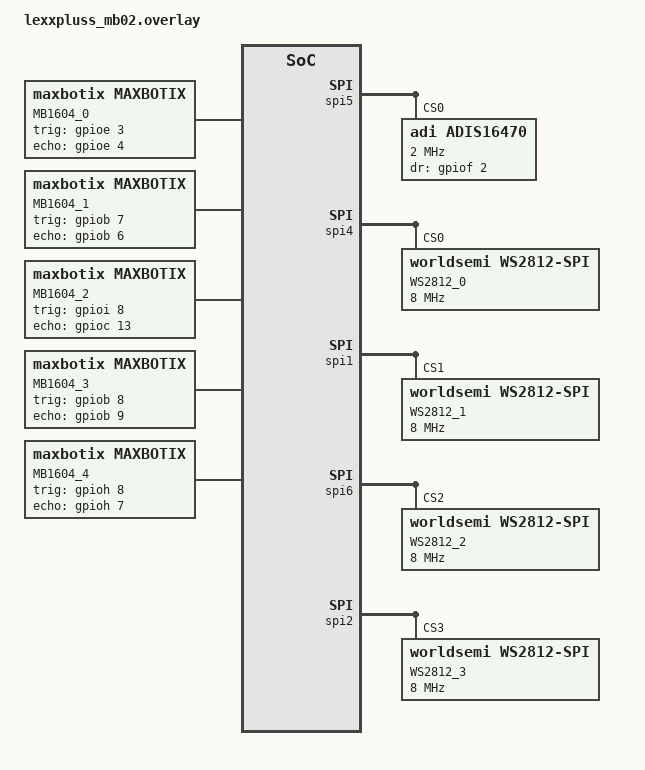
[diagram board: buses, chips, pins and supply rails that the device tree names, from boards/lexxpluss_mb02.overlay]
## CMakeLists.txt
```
# SPDX-License-Identifier: BSD-2-Clause
cmake_minimum_required(VERSION 3.20.0)
list(APPEND BOARD_ROOT ${CMAKE_CURRENT_LIST_DIR}/../spike_minimal)
option(SPIKE_REAL_SLOT "Use the real 256 KiB slots (no measurement overlay) for the units g and h" OFF)
# From unit b on, the in-house driver module is part of the build. The module
# list must be known before find_package(Zephyr), so the unit index is derived here.
if(DEFINED FW_UNIT AND FW_UNIT MATCHES "^[a-h]$")
    string(FIND "abcdefgh" "${FW_UNIT}" early_unit_pos)
    if(early_unit_pos GREATER 0)
        list(APPEND ZEPHYR_EXTRA_MODULES ${CMAKE_CURRENT_LIST_DIR}/modules/lexxpluss_drivers)
        list(APPEND EXTRA_CONF_FILE ${CMAKE_CURRENT_LIST_DIR}/prj_sensors.conf)
    endif()
    # Unit g adds the micro-ROS module (same early-index technique).
    if(early_unit_pos GREATER 5)
        list(APPEND ZEPHYR_EXTRA_MODULES ${CMAKE_CURRENT_LIST_DIR}/../micro_ros_zephyr_module/modules/libmicroros)
        # MEASUREMENT ONLY: enlarged code partition (see the overlay); applied after the board overlay.
        # This is the measurement overlay that SPIKE_REAL_SLOT=ON removes.
        if(NOT SPIKE_REAL_SLOT)
            list(APPEND EXTRA_DTC_OVERLAY_FILE ${CMAKE_CURRENT_LIST_DIR}/boards/u9g_measure_flash_region.overlay)
        endif()
    endif()
    # Unit h only. A CMake cache variable named CONFIG_* is merged by Zephyr after all
    # EXTRA_CONF_FILE files, so it overrides the shared nano conf (CONFIG_MICROROS_NODES="1");
    # an EXTRA_CONF_FILE fragment appended here would be merged before the command-line ones.
    # Unit g is unchanged. The Kconfig symbol is a string, hence the quoted value.
    if(FW_UNIT STREQUAL "h")
        set(CONFIG_MICROROS_NODES "\"2\"" CACHE STRING "Unit h creates two rcl nodes (one per session)" FORCE)
    endif()
endif()
find_package(Zephyr REQUIRED HINTS $ENV{ZEPHYR_BASE})
project(spike_fw)

# Under LTO the compiler emits the 64-bit atomic libcalls during link-time codegen, after the
# linker has chosen the libmicroros.a members, so librcutils-atomic_64bits.c.obj is not pulled
# in. Force its symbols (all four defined in rcutils atomic_64bits.c) to be undefined at link.
if(CONFIG_LTO)
    zephyr_ld_options(
        -Wl,-u,__atomic_load_8
        -Wl,-u,__atomic_store_8
        -Wl,-u,__atomic_exchange_8
        -Wl,-u,__atomic_fetch_add_8
    )
endif()

# FW_UNIT selects the cumulative unit (a..h) up to which sources are compiled.
if(NOT DEFINED FW_UNIT OR NOT FW_UNIT MATCHES "^[a-h]$")
    message(FATAL_ERROR "FW_UNIT must be set to a letter a..h (e.g. -DFW_UNIT=a)")
endif()

# Maps the unit letter to an index (a=1 .. g=7).
function(fw_unit_index letter out_var)
    string(FIND "abcdefgh" "${letter}" pos)
    math(EXPR idx "${pos} + 1")
    set(${out_var} ${idx} PARENT_SCOPE)
endfunction()

# Adds sources when FW_UNIT is at or after the given unit letter.
function(fw_unit_sources letter)
    fw_unit_index("${FW_UNIT}" current)
    fw_unit_index("${letter}" required)
    if(NOT current LESS required)
        target_sources(app PRIVATE ${ARGN})
    endif()
endfunction()

# Defines FW_HAS_<NAME>=1 for the named controllers when FW_UNIT is at or after
# the given unit letter, so that main.cpp can skip controllers not built yet.
function(fw_unit_defines letter)
    fw_unit_index("${FW_UNIT}" current)
    fw_unit_index("${letter}" required)
    if(NOT current LESS required)
        foreach(name ${ARGN})
            target_compile_definitions(app PRIVATE FW_HAS_${name}=1)
        endforeach()
    endif()
endfunction()

# Cumulative source table. Later units extend this table (b: in-house driver
# module path; g: micro-ROS).
fw_unit_sources(a src/main.cpp)
fw_unit_sources(c src/can_controller.cpp src/interlock_controller.cpp
                  src/u9_stubs.cpp)
fw_unit_sources(d src/actuator_controller.cpp src/adc_reader.cpp
                  src/pgv_controller.cpp src/towing_unit_controller.cpp
                  src/misc_controller.cpp)
fw_unit_sources(e src/firmware_updater.cpp src/sdlog_controller.cpp
                  src/log_controller.cpp src/runaway_detector.cpp
                  src/tof_controller.cpp)
fw_unit_sources(f src/imu_controller.cpp src/uss_controller.cpp
                  src/led_controller.cpp)
# The size-spike sample is compiled for unit g only; unit h replaces it by the real session.
if(FW_UNIT STREQUAL "g")
    target_sources(app PRIVATE src/microros_types.c)
endif()
fw_unit_sources(g src/microros_transport_uart.c)
fw_unit_sources(h src/microros_session.c src/microros_publishers.cpp src/microros_subscribers.cpp src/microros_services.cpp
                  src/microros_board_store.cpp)

# Unit h reads the uxrSession of an rcl context for the per-session ping: the private rmw header
# (rmw_microros_internal/types.h) needs this include directory, for this source only.
if(FW_UNIT STREQUAL "h")
    set_source_files_properties(src/microros_session.c PROPERTIES INCLUDE_DIRECTORIES
        ${CMAKE_CURRENT_LIST_DIR}/../micro_ros_zephyr_module/modules/libmicroros/micro_ros_src/src/rmw-microxrcedds/rmw_microxrcedds_c/src)
endif()

fw_unit_defines(c CAN INTERLOCK)
fw_unit_defines(d ACTUATOR ADC PGV TOWING MISC)
fw_unit_defines(e UPDATER SDLOG LOG RUNAWAY TOF)
fw_unit_defines(f IMU USS LED)
fw_unit_defines(g MICROROS)
fw_unit_defines(h MICROROS_REAL)

if(ENABLE_INTERLOCK)
    add_definitions(-DENABLE_INTERLOCK)
endif()

if(ENABLE_TUG)
    add_definitions(-DENABLE_TUG)
endif()

if(VERSION)
    add_definitions(-DVERSION=${VERSION})
endif()
```

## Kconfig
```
# STM32 HAL modules used directly by actuator_controller.cpp (HAL_TIM_Encoder_*,
# HAL_TIMEx_MasterConfigSynchronization, HAL_GPIO_Init). They are hidden symbols,
# so they can only be enabled by a select.
config LEXXHARD_STM32_HAL_APP
	bool
	default y
	select USE_STM32_HAL_TIM
	select USE_STM32_HAL_TIM_EX
	select USE_STM32_HAL_GPIO

config LEXXHARD_MICROROS_NO_EXECUTOR
	bool "Replace the rclc executor by a plain rcl wait-set loop"
	default n
	help
	  Size measurement only: the micro-ROS sample uses a hand-written rcl wait-set loop
	  instead of the rclc executor, so that rclc executor.c and the rcl_action code that
	  it references are not linked.

config LEXXHARD_MICROROS_DIRECT_TYPESUPPORT
	bool "Ask the micro-XRCE-DDS type support directly in the micro-ROS sample"
	default n
	help
	  Size measurement only: the micro-ROS sample passes the rosidl_typesupport_microxrcedds_c
	  handles to rcl instead of the rosidl_typesupport_c dispatch handles, so that the
	  rosidl_typesupport_c dispatch tables and the introspection type support that they
	  reference are not linked.

source "Kconfig.zephyr"
```

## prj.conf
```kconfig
# Copyright (c) 2022, LexxPluss Inc.
# All rights reserved.
#
# Redistribution and use in source and binary forms, with or without
# modification, are permitted provided that the following conditions are met:
#
# 1. Redistributions of source code must retain the above copyright notice,
#    this list of conditions and the following disclaimer.
# 2. Redistributions in binary form must reproduce the above copyright notice,
#    this list of conditions and the following disclaimer in the documentation
#    and/or other materials provided with the distribution.
#
# THIS SOFTWARE IS PROVIDED BY THE COPYRIGHT HOLDERS AND CONTRIBUTORS "AS IS" AND
# ANY EXPRESS OR IMPLIED WARRANTIES, INCLUDING, BUT NOT LIMITED TO, THE IMPLIED
# WARRANTIES OF MERCHANTABILITY AND FITNESS FOR A PARTICULAR PURPOSE ARE
# DISCLAIMED. IN NO EVENT SHALL THE COPYRIGHT OWNER OR CONTRIBUTORS BE LIABLE FOR
# ANY DIRECT, INDIRECT, INCIDENTAL, SPECIAL, EXEMPLARY, OR CONSEQUENTIAL DAMAGES
# (INCLUDING, BUT NOT LIMITED TO, PROCUREMENT OF SUBSTITUTE GOODS OR SERVICES;
# LOSS OF USE, DATA, OR PROFITS; OR BUSINESS INTERRUPTION) HOWEVER CAUSED AND
# ON ANY THEORY OF LIABILITY, WHETHER IN CONTRACT, STRICT LIABILITY, OR TORT
# (INCLUDING NEGLIGENCE OR OTHERWISE) ARISING IN ANY WAY OUT OF THE USE OF THIS
# SOFTWARE, EVEN IF ADVISED OF THE POSSIBILITY OF SUCH DAMAGE.

CONFIG_SHELL=y
CONFIG_FPU=y
CONFIG_NEWLIB_LIBC=y
CONFIG_NEWLIB_LIBC_FLOAT_PRINTF=y
CONFIG_CPP=y
CONFIG_STD_CPP2A=y
CONFIG_GLIBCXX_LIBCPP=y
CONFIG_CPP_RTTI=y
CONFIG_RING_BUFFER=y
CONFIG_PRINTK=y
CONFIG_DISK_ACCESS=y
CONFIG_DISK_DRIVERS=y
CONFIG_DISK_DRIVER_SDMMC=y
CONFIG_FILE_SYSTEM=y
CONFIG_FAT_FILESYSTEM_ELM=y
CONFIG_FS_FATFS_LFN=y
CONFIG_HEAP_MEM_POOL_SIZE=32768
CONFIG_FILE_SYSTEM_SHELL=y
CONFIG_BOOTLOADER_MCUBOOT=y
CONFIG_MCUBOOT_SIGNATURE_KEY_FILE="bootloader/mcuboot/root-rsa-2048.pem"
CONFIG_MCUBOOT_GENERATE_CONFIRMED_IMAGE=y
CONFIG_FLASH=y
CONFIG_FLASH_MAP=y
CONFIG_REBOOT=y

# CONFIG_CAN moved to the board defconfig (as in the 2.6 board defconfig)
```

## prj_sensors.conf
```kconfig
# U9b: in-house sensor drivers (lexxpluss_drivers module); the 2.6 defconfig enables MAXBOTIX and ADIS16470.
# Appended to EXTRA_CONF_FILE by CMakeLists.txt for FW_UNIT b or later only.
CONFIG_SPI=y
CONFIG_SENSOR=y
CONFIG_MAXBOTIX=y
CONFIG_ADIS16470=y
```

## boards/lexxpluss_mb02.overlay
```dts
#include <zephyr/dt-bindings/led/led.h>

/*
 * Sensor nodes of the lexxpluss_mb02 board (5 MaxBotix MB1604 and the ADIS16470 on spi5)
 * for the in-house drivers of spike_fw/modules/lexxpluss_drivers. The label properties are
 * kept because the firmware looks the devices up by name with device_get_binding();
 * dr-gpios replaces the hard-coded GPIOF pin 2 of the 2.6 driver.
 */
/ {
	uss0: mb1604-0 {
		compatible = "maxbotix,maxbotix";
		label = "MB1604_0";
		trig-gpios = <&gpioe 3 GPIO_ACTIVE_HIGH>;
		echo-gpios = <&gpioe 4 GPIO_ACTIVE_HIGH>;
		status = "okay";
	};

	uss1: mb1604-1 {
		compatible = "maxbotix,maxbotix";
		label = "MB1604_1";
		trig-gpios = <&gpiob 7 GPIO_ACTIVE_HIGH>;
		echo-gpios = <&gpiob 6 GPIO_ACTIVE_HIGH>;
		status = "okay";
	};

	uss2: mb1604-2 {
		compatible = "maxbotix,maxbotix";
		label = "MB1604_2";
		trig-gpios = <&gpioi 8 GPIO_ACTIVE_HIGH>;
		echo-gpios = <&gpioc 13 GPIO_ACTIVE_HIGH>;
		status = "okay";
	};

	uss3: mb1604-3 {
		compatible = "maxbotix,maxbotix";
		label = "MB1604_3";
		trig-gpios = <&gpiob 8 GPIO_ACTIVE_HIGH>;
		echo-gpios = <&gpiob 9 GPIO_ACTIVE_HIGH>;
		status = "okay";
	};

	uss4: mb1604-4 {
		compatible = "maxbotix,maxbotix";
		label = "MB1604_4";
		trig-gpios = <&gpioh 8 GPIO_ACTIVE_HIGH>;
		echo-gpios = <&gpioh 7 GPIO_ACTIVE_HIGH>;
		status = "okay";
	};
};

&spi5 {
	adis16470@0 {
		compatible = "adi,adis16470";
		reg = <0>;
		spi-max-frequency = <2000000>;
		label = "ADIS16470";
		dr-gpios = <&gpiof 2 GPIO_ACTIVE_HIGH>;
	};
};

/* WS2812 strips (upstream worldsemi,ws2812-spi), values from the 2.6 board dts; GRB wire order. */
&spi4 {
	led_strip0: ws2812@0 {
		compatible = "worldsemi,ws2812-spi";
		label = "WS2812_0";
		reg = <0>;
		spi-max-frequency = <8000000>;
		chain-length = <36>;
		spi-one-frame = <0x7c>;
		spi-zero-frame = <0x60>;
		color-mapping = <LED_COLOR_ID_GREEN LED_COLOR_ID_RED LED_COLOR_ID_BLUE>;
	};
};

&spi1 {
	led_strip1: ws2812@1 {
		compatible = "worldsemi,ws2812-spi";
		label = "WS2812_1";
		reg = <1>;
		spi-max-frequency = <8000000>;
		chain-length = <36>;
		spi-one-frame = <0x7c>;
		spi-zero-frame = <0x60>;
		color-mapping = <LED_COLOR_ID_GREEN LED_COLOR_ID_RED LED_COLOR_ID_BLUE>;
	};
};

&spi6 {
	led_strip2: ws2812@2 {
		compatible = "worldsemi,ws2812-spi";
		label = "WS2812_2";
		reg = <2>;
		spi-max-frequency = <8000000>;
		chain-length = <25>;
		spi-one-frame = <0x7c>;
		spi-zero-frame = <0x60>;
		color-mapping = <LED_COLOR_ID_GREEN LED_COLOR_ID_RED LED_COLOR_ID_BLUE>;
	};
};

&spi2 {
	led_strip3: ws2812@3 {
		compatible = "worldsemi,ws2812-spi";
		label = "WS2812_3";
		reg = <3>;
		spi-max-frequency = <8000000>;
		chain-length = <25>;
		spi-one-frame = <0x7c>;
		spi-zero-frame = <0x60>;
		color-mapping = <LED_COLOR_ID_GREEN LED_COLOR_ID_RED LED_COLOR_ID_BLUE>;
	};
};
```

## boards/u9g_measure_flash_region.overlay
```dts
/*
 * MEASUREMENT ONLY: the code partition is enlarged to 512 KiB so that the image links and its size can be
 * measured. The real slot is 256 KiB and the firmware plus micro-ROS overflowed it by 13316 bytes at the
 * first link. The image signer takes the slot size from slot1_partition, so that one is enlarged too.
 * Both overlap their neighbours (slot1 overlaps scratch): never use for a release image.
 */
&slot0_partition {
	reg = <0x00040000 0x00080000>;
};

&slot1_partition {
	reg = <0x00080000 0x00080000>;
};
```

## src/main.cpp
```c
/*
 * Copyright (c) 2022, LexxPluss Inc.
 * All rights reserved.
 *
 * Redistribution and use in source and binary forms, with or without
 * modification, are permitted provided that the following conditions are met:
 *
 * 1. Redistributions of source code must retain the above copyright notice,
 *    this list of conditions and the following disclaimer.
 * 2. Redistributions in binary form must reproduce the above copyright notice,
 *    this list of conditions and the following disclaimer in the documentation
 *    and/or other materials provided with the distribution.
 *
 * THIS SOFTWARE IS PROVIDED BY THE COPYRIGHT HOLDERS AND CONTRIBUTORS "AS IS" AND
 * ANY EXPRESS OR IMPLIED WARRANTIES, INCLUDING, BUT NOT LIMITED TO, THE IMPLIED
 * WARRANTIES OF MERCHANTABILITY AND FITNESS FOR A PARTICULAR PURPOSE ARE
 * DISCLAIMED. IN NO EVENT SHALL THE COPYRIGHT OWNER OR CONTRIBUTORS BE LIABLE FOR
 * ANY DIRECT, INDIRECT, INCIDENTAL, SPECIAL, EXEMPLARY, OR CONSEQUENTIAL DAMAGES
 * (INCLUDING, BUT NOT LIMITED TO, PROCUREMENT OF SUBSTITUTE GOODS OR SERVICES;
 * LOSS OF USE, DATA, OR PROFITS; OR BUSINESS INTERRUPTION) HOWEVER CAUSED AND
 * ON ANY THEORY OF LIABILITY, WHETHER IN CONTRACT, STRICT LIABILITY, OR TORT
 * (INCLUDING NEGLIGENCE OR OTHERWISE) ARISING IN ANY WAY OUT OF THE USE OF THIS
 * SOFTWARE, EVEN IF ADVISED OF THE POSSIBILITY OF SUCH DAMAGE.
 */

#include <zephyr/kernel.h>
#include <zephyr/drivers/gpio.h>
#if FW_HAS_ACTUATOR
#include "actuator_controller.hpp"
#endif
#if FW_HAS_ADC
#include "adc_reader.hpp"
#endif
#if FW_HAS_CAN
#include "can_controller.hpp"
#endif
#if FW_HAS_UPDATER
#include "firmware_updater.hpp"
#endif
#if FW_HAS_IMU
#include "imu_controller.hpp"
#endif
#if FW_HAS_INTERLOCK
#include "interlock_controller.hpp"
#endif
#if FW_HAS_LED
#include "led_controller.hpp"
#endif
#if FW_HAS_MISC
#include "misc_controller.hpp"
#endif
#if FW_HAS_PGV
#include "pgv_controller.hpp"
#endif
#if FW_HAS_RUNAWAY
#include "runaway_detector.hpp"
#endif
#if FW_HAS_TOF
#include "tof_controller.hpp"
#endif
#if FW_HAS_USS
#include "uss_controller.hpp"
#endif
#if FW_HAS_TOWING
#include "towing_unit_controller.hpp"
#endif
#if defined(FW_HAS_MICROROS_REAL)
#include "microros_session.h"
#elif FW_HAS_MICROROS
#include "microros_types.h"
#endif

namespace {

#if FW_HAS_ACTUATOR
K_THREAD_STACK_DEFINE(actuator_controller_stack, 2048);
#endif
#if FW_HAS_ADC
K_THREAD_STACK_DEFINE(adc_reader_stack, 2048);
#endif
#if FW_HAS_CAN
K_THREAD_STACK_DEFINE(can_controller_stack, 2048);
#endif
#if FW_HAS_UPDATER
K_THREAD_STACK_DEFINE(firmware_updater_stack, 2048);
#endif
#if FW_HAS_IMU
K_THREAD_STACK_DEFINE(imu_controller_stack, 2048);
#endif
#if FW_HAS_INTERLOCK
K_THREAD_STACK_DEFINE(interlock_controller_stack, 2048);
#endif
#if FW_HAS_LED
K_THREAD_STACK_DEFINE(led_controller_stack, 2048);
#endif
#if FW_HAS_MISC
K_THREAD_STACK_DEFINE(misc_controller_stack, 2048);
#endif
#if FW_HAS_PGV
K_THREAD_STACK_DEFINE(pgv_controller_stack, 2048);
#endif
#if FW_HAS_RUNAWAY
K_THREAD_STACK_DEFINE(runaway_detector_stack, 2048);
#endif
#if FW_HAS_TOF
K_THREAD_STACK_DEFINE(tof_controller_stack, 2048);
#endif
#if FW_HAS_USS
K_THREAD_STACK_DEFINE(uss_controller_stack, 2048);
#endif
#if FW_HAS_TOWING
K_THREAD_STACK_DEFINE(towing_unit_controller_stack, 2048);
#endif
#if defined(FW_HAS_MICROROS_REAL)
K_THREAD_STACK_DEFINE(microros_uart6_stack, 25000);
struct k_thread microros_uart6_thread;
K_THREAD_STACK_DEFINE(microros_uart2_stack, 25000);
struct k_thread microros_uart2_thread;
#elif FW_HAS_MICROROS
K_THREAD_STACK_DEFINE(microros_stack, 25000);
struct k_thread microros_thread;
#endif

#define RUN(name, prio) \
    k_thread_create(&lexxhard::name::thread, name##_stack, K_THREAD_STACK_SIZEOF(name##_stack), \
                    lexxhard::name::run, nullptr, nullptr, nullptr, prio, K_FP_REGS, K_MSEC(2000));

void reset_usb_hub()
{
    if (const device *gpioj{device_get_binding("GPIOJ")}; device_is_ready(gpioj)) {
        gpio_pin_configure(gpioj, 13, GPIO_OUTPUT_HIGH | GPIO_ACTIVE_HIGH);
        k_msleep(1);
        gpio_pin_set(gpioj, 13, 0);
        k_msleep(1);
        gpio_pin_set(gpioj, 13, 1);
    }
}

uint8_t get_board_setting()
{
    uint8_t brd_setting{0}, temp{0};

    const device *gpiof{device_get_binding("GPIOF")};

    if (device_is_ready(gpiof)) {
        gpio_pin_configure(gpiof, 12, GPIO_INPUT | GPIO_PULL_UP | GPIO_ACTIVE_HIGH);   //SPRGPI09
        gpio_pin_configure(gpiof, 13, GPIO_INPUT | GPIO_PULL_UP | GPIO_ACTIVE_HIGH);   //SPRGPI10

        brd_setting = uint8_t(gpio_pin_get(gpiof, 12));
        temp = uint8_t(gpio_pin_get(gpiof, 13));
        temp = temp << 1;
        brd_setting = brd_setting | temp;
    }

    return brd_setting;
}

}

int main()
{
    reset_usb_hub();
#if FW_HAS_ACTUATOR
    lexxhard::actuator_controller::init();
#endif
#if FW_HAS_ADC
    lexxhard::adc_reader::init();
#endif
#if FW_HAS_CAN
    lexxhard::can_controller::init();
#endif
#if FW_HAS_UPDATER
    lexxhard::firmware_updater::init();
#endif
#if FW_HAS_IMU
    lexxhard::imu_controller::init();
#endif
#if FW_HAS_INTERLOCK
    lexxhard::interlock_controller::init();
#endif
#if FW_HAS_LED
    lexxhard::led_controller::init();
#endif
#if FW_HAS_MISC
    lexxhard::misc_controller::init();
#endif
#if FW_HAS_PGV
    lexxhard::pgv_controller::init();
#endif
#if FW_HAS_RUNAWAY
    lexxhard::runaway_detector::init();
#endif
#if FW_HAS_TOF
    lexxhard::tof_controller::init();
#endif
#if FW_HAS_USS
    lexxhard::uss_controller::init();
#endif
    
#if FW_HAS_ACTUATOR
    RUN(actuator_controller, 2);
#endif
#if FW_HAS_ADC
    RUN(adc_reader, 2);
#endif
#if FW_HAS_CAN
    RUN(can_controller, 4);
#endif
#if FW_HAS_UPDATER
    RUN(firmware_updater, 7);
#endif
#if FW_HAS_IMU
    RUN(imu_controller, 2);
#endif
#if FW_HAS_INTERLOCK
    RUN(interlock_controller, 5);
#endif
#if FW_HAS_LED
    RUN(led_controller, 1);
#endif
#if FW_HAS_MISC
    RUN(misc_controller, 2);
#endif
#if FW_HAS_PGV
    RUN(pgv_controller, 1);
#endif
#if FW_HAS_TOF
    RUN(tof_controller, 2);
#endif
#if FW_HAS_USS
    RUN(uss_controller, 2);
#endif
#if FW_HAS_RUNAWAY
    RUN(runaway_detector, 4);
#endif

#if defined(FW_HAS_MICROROS_REAL)
    k_thread_create(&microros_uart6_thread, microros_uart6_stack, K_THREAD_STACK_SIZEOF(microros_uart6_stack),
                    [](void *, void *, void *) { lexxhard_microros_session_uart6(); },
                    nullptr, nullptr, nullptr, 5, K_FP_REGS, K_MSEC(2000));
    k_thread_create(&microros_uart2_thread, microros_uart2_stack, K_THREAD_STACK_SIZEOF(microros_uart2_stack),
                    [](void *, void *, void *) { lexxhard_microros_session_uart2(); },
                    nullptr, nullptr, nullptr, 6, K_FP_REGS, K_MSEC(2000));
#elif FW_HAS_MICROROS
    k_thread_create(&microros_thread, microros_stack, K_THREAD_STACK_SIZEOF(microros_stack),
                    [](void *, void *, void *) { lexxhard_microros_run(); },
                    nullptr, nullptr, nullptr, 6, K_FP_REGS, K_MSEC(2000));
#endif

    switch (get_board_setting()) {
        case 0: //Wani Unit
#if FW_HAS_TOWING
            lexxhard::towing_unit_controller::init();
            RUN(towing_unit_controller, 2);
#endif
            break;
        case 1: //Reserved
            break;
        case 2: //Reserved
            break;
        default:
            break;
    }

    const device *gpiog{device_get_binding("GPIOG")};
    if (gpiog != nullptr)
        gpio_pin_configure(gpiog, 7, GPIO_OUTPUT_LOW | GPIO_ACTIVE_HIGH);
    int heartbeat_led{1};
    while (true) {
        if (gpiog != nullptr) {
            gpio_pin_set(gpiog, 7, heartbeat_led);
            heartbeat_led = !heartbeat_led;
        }
        k_msleep(1000);
    }
}

// vim: set expandtab shiftwidth=4:
```

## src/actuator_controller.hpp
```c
/*
 * Copyright (c) 2022, LexxPluss Inc.
 * All rights reserved.
 *
 * Redistribution and use in source and binary forms, with or without
 * modification, are permitted provided that the following conditions are met:
 *
 * 1. Redistributions of source code must retain the above copyright notice,
 *    this list of conditions and the following disclaimer.
 * 2. Redistributions in binary form must reproduce the above copyright notice,
 *    this list of conditions and the following disclaimer in the documentation
 *    and/or other materials provided with the distribution.
 *
 * THIS SOFTWARE IS PROVIDED BY THE COPYRIGHT HOLDERS AND CONTRIBUTORS "AS IS" AND
 * ANY EXPRESS OR IMPLIED WARRANTIES, INCLUDING, BUT NOT LIMITED TO, THE IMPLIED
 * WARRANTIES OF MERCHANTABILITY AND FITNESS FOR A PARTICULAR PURPOSE ARE
 * DISCLAIMED. IN NO EVENT SHALL THE COPYRIGHT OWNER OR CONTRIBUTORS BE LIABLE FOR
 * ANY DIRECT, INDIRECT, INCIDENTAL, SPECIAL, EXEMPLARY, OR CONSEQUENTIAL DAMAGES
 * (INCLUDING, BUT NOT LIMITED TO, PROCUREMENT OF SUBSTITUTE GOODS OR SERVICES;
 * LOSS OF USE, DATA, OR PROFITS; OR BUSINESS INTERRUPTION) HOWEVER CAUSED AND
 * ON ANY THEORY OF LIABILITY, WHETHER IN CONTRACT, STRICT LIABILITY, OR TORT
 * (INCLUDING NEGLIGENCE OR OTHERWISE) ARISING IN ANY WAY OUT OF THE USE OF THIS
 * SOFTWARE, EVEN IF ADVISED OF THE POSSIBILITY OF SUCH DAMAGE.
 */

#pragma once

#include <zephyr/kernel.h>

namespace lexxhard::actuator_controller {

struct msg_control {
    struct {
        int8_t direction;
        uint8_t power;
    } actuators[3];
    static constexpr int8_t DOWN{-1}, STOP{0}, UP{1};
} __attribute__((aligned(4)));

struct msg {
    int32_t encoder_count[3];
    int32_t current[3];
    int32_t connect;
    bool fail[3];
} __attribute__((aligned(4)));

void init();
void run(void *p1, void *p2, void *p3);
int init_location(const int8_t (&directoins)[3]);
int to_location(const uint8_t (&location)[3], const uint8_t (&power)[3], uint8_t (&detail)[3]);
extern k_thread thread;
extern k_msgq msgq, msgq_control;

}

// vim: set expandtab shiftwidth=4:
```

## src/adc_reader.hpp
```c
/*
 * Copyright (c) 2022, LexxPluss Inc.
 * All rights reserved.
 *
 * Redistribution and use in source and binary forms, with or without
 * modification, are permitted provided that the following conditions are met:
 *
 * 1. Redistributions of source code must retain the above copyright notice,
 *    this list of conditions and the following disclaimer.
 * 2. Redistributions in binary form must reproduce the above copyright notice,
 *    this list of conditions and the following disclaimer in the documentation
 *    and/or other materials provided with the distribution.
 *
 * THIS SOFTWARE IS PROVIDED BY THE COPYRIGHT HOLDERS AND CONTRIBUTORS "AS IS" AND
 * ANY EXPRESS OR IMPLIED WARRANTIES, INCLUDING, BUT NOT LIMITED TO, THE IMPLIED
 * WARRANTIES OF MERCHANTABILITY AND FITNESS FOR A PARTICULAR PURPOSE ARE
 * DISCLAIMED. IN NO EVENT SHALL THE COPYRIGHT OWNER OR CONTRIBUTORS BE LIABLE FOR
 * ANY DIRECT, INDIRECT, INCIDENTAL, SPECIAL, EXEMPLARY, OR CONSEQUENTIAL DAMAGES
 * (INCLUDING, BUT NOT LIMITED TO, PROCUREMENT OF SUBSTITUTE GOODS OR SERVICES;
 * LOSS OF USE, DATA, OR PROFITS; OR BUSINESS INTERRUPTION) HOWEVER CAUSED AND
 * ON ANY THEORY OF LIABILITY, WHETHER IN CONTRACT, STRICT LIABILITY, OR TORT
 * (INCLUDING NEGLIGENCE OR OTHERWISE) ARISING IN ANY WAY OUT OF THE USE OF THIS
 * SOFTWARE, EVEN IF ADVISED OF THE POSSIBILITY OF SUCH DAMAGE.
 */

#pragma once

#include <zephyr/kernel.h>

namespace lexxhard::adc_reader {

void init();
void run(void *p1, void *p2, void *p3);
int32_t get(int index);
extern k_thread thread;

enum {
    DOWNWARD_L = 0,
    DOWNWARD_R,
    TROLLEY,
    ACTUATOR_0,
    ACTUATOR_1,
    ACTUATOR_2,
    NUM_CHANNELS
};

}

// vim: set expandtab shiftwidth=4:
```

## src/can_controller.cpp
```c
/*
 * Copyright (c) 2023, LexxPluss Inc.
 * All rights reserved.
 *
 * Redistribution and use in source and binary forms, with or without
 * modification, are permitted provided that the following conditions are met:
 *
 * 1. Redistributions of source code must retain the above copyright notice,
 *    this list of conditions and the following disclaimer.
 * 2. Redistributions in binary form must reproduce the above copyright notice,
 *    this list of conditions and the following disclaimer in the documentation
 *    and/or other materials provided with the distribution.
 *
 * THIS SOFTWARE IS PROVIDED BY THE COPYRIGHT HOLDERS AND CONTRIBUTORS "AS IS" AND
 * ANY EXPRESS OR IMPLIED WARRANTIES, INCLUDING, BUT NOT LIMITED TO, THE IMPLIED
 * WARRANTIES OF MERCHANTABILITY AND FITNESS FOR A PARTICULAR PURPOSE ARE
 * DISCLAIMED. IN NO EVENT SHALL THE COPYRIGHT OWNER OR CONTRIBUTORS BE LIABLE FOR
 * ANY DIRECT, INDIRECT, INCIDENTAL, SPECIAL, EXEMPLARY, OR CONSEQUENTIAL DAMAGES
 * (INCLUDING, BUT NOT LIMITED TO, PROCUREMENT OF SUBSTITUTE GOODS OR SERVICES;
 * LOSS OF USE, DATA, OR PROFITS; OR BUSINESS INTERRUPTION) HOWEVER CAUSED AND
 * ON ANY THEORY OF LIABILITY, WHETHER IN CONTRACT, STRICT LIABILITY, OR TORT
 * (INCLUDING NEGLIGENCE OR OTHERWISE) ARISING IN ANY WAY OUT OF THE USE OF THIS
 * SOFTWARE, EVEN IF ADVISED OF THE POSSIBILITY OF SUCH DAMAGE.
 */

#include <zephyr/kernel.h>
#include <zephyr/device.h>
#include <zephyr/drivers/can.h>
#include <zephyr/drivers/gpio.h>
#include <zephyr/logging/log.h>
#include <zephyr/shell/shell.h>
#include "interlock_controller.hpp"
#include "led_controller.hpp"
#include "misc_controller.hpp"
#include "can_controller.hpp"


#define QUOTE(name) #name
#define STR(macro) QUOTE(macro)

#ifndef VERSION
#  define VERSION v2.0.0-dev  // This version must not be used for production. Only for local build.
#endif  // VERSION

#if defined(ENABLE_TUG)
#  define VERSION_STR STR(VERSION) "-tug"
#elif defined(ENABLE_INTERLOCK)
#  define VERSION_STR STR(VERSION) "-interlock"
#else
#  define VERSION_STR STR(VERSION)
#endif  // ENABLE_TUG or ENABLE_INTERLOCK

namespace lexxhard::can_controller {

LOG_MODULE_REGISTER(can);

char __aligned(4) msgq_bmu_buffer[8 * sizeof (msg_bmu)];
char __aligned(4) msgq_board_buffer[8 * sizeof (msg_board)];
char __aligned(4) msgq_control_buffer[8 * sizeof (msg_control)];
char __aligned(4) msgq_diagnostics_buffer[8 * sizeof (msg_diagnostics)];

CAN_MSGQ_DEFINE(msgq_can_bmu, 16);
CAN_MSGQ_DEFINE(msgq_can_board, 4);
CAN_MSGQ_DEFINE(msgq_can_log, 8);

class log_printer {
public:
    void putc(char c) {
        if (c != '\n')
            buffer[index++] = c;
        if (c == '\n' || index >= 80) {
            buffer[index] = '\0';
            LOG_INF("%s", buffer);
            index = 0;
        }
    }
private:
    uint32_t index{0};
    char buffer[128];
};

class can_controller_impl {
public:
    int init() {
        k_msgq_init(&msgq_bmu, msgq_bmu_buffer, sizeof (msg_bmu), 8);
        k_msgq_init(&msgq_board, msgq_board_buffer, sizeof (msg_board), 8);
        k_msgq_init(&msgq_control, msgq_control_buffer, sizeof (msg_control), 8);
        k_msgq_init(&msgq_diagnostics, msgq_diagnostics_buffer, sizeof (msg_diagnostics), 8);
        dev = device_get_binding("CAN_2");
        if (!device_is_ready(dev))
            return -1;
        can_set_bitrate(dev, 500000);
        can_set_mode(dev, CAN_MODE_NORMAL);
        can_start(dev);
        return 0;
    }
    void run() {
        if (!device_is_ready(dev))
            return;
        const device *gpiog{device_get_binding("GPIOG")};
        if (device_is_ready(gpiog))
            gpio_pin_configure(gpiog, 6, GPIO_OUTPUT_LOW | GPIO_ACTIVE_HIGH);
        setup_can_filter();
        int heartbeat_led{1};
        while (true) {
            bool handled{false};
            can_frame frame;
            if (k_msgq_get(&msgq_can_bmu, &frame, K_NO_WAIT) == 0 && !is_rtr(frame)) {
                bool is_corrupted{false};
                if (handler_bmu(frame, is_corrupted)) {
                    while (k_msgq_put(&msgq_bmu, &bmu2ros, K_NO_WAIT) != 0)
                        k_msgq_purge(&msgq_bmu);
                } else if(is_corrupted) {
                    handler_corrupted_frame(frame);
                }
                handled = true;
            }
            if (k_msgq_get(&msgq_can_board, &frame, K_NO_WAIT) == 0 && !is_rtr(frame)) {
                if (handler_board(frame)) {
                    while (k_msgq_put(&msgq_board, &board2ros, K_NO_WAIT) != 0)
                        k_msgq_purge(&msgq_board);
                } else {
                    handler_corrupted_frame(frame);
                }
                handled = true;
            }
            if (k_msgq_get(&msgq_can_log, &frame, K_NO_WAIT) == 0 && !is_rtr(frame)) {
                handler_log(frame);
            }
            if (k_msgq_get(&msgq_control, &ros2board, K_NO_WAIT) == 0) {
                prev_cycle_ros = k_cycle_get_32();
                handled = true;
            }
            interlock_controller::msg_can_interlock message;
            if (k_msgq_get(&interlock_controller::msgq_can_interlock, &message, K_NO_WAIT) == 0) {
	        ros2board.emergency_stop |= message.is_emergency_stop;
            }
            uint32_t now_cycle{k_cycle_get_32()};
            if (prev_cycle_ros != 0) {
                uint32_t dt_ms{k_cyc_to_ms_near32(now_cycle - prev_cycle_ros)};
                heartbeat_timeout = dt_ms > 3000;
            }
            uint32_t dt_ms{k_cyc_to_ms_near32(now_cycle - prev_cycle_send)};
            if (dt_ms > 100) {
                prev_cycle_send = now_cycle;
                send_message();
                if (device_is_ready(gpiog)) {
                    gpio_pin_set(gpiog, 6, heartbeat_led);
                    heartbeat_led = !heartbeat_led;
                }
            }
            if (!handled)
                k_msleep(1);
        }
    }
    uint32_t get_rsoc() const {
        return bmu2ros.rsoc;
    }
    bool get_emergency_switch() const {
        return board2ros.emergency_switch[0] ||
               board2ros.emergency_switch[1];
    }
    bool get_bumper_switch() const {
	return board2ros.bumper_switch[0] ||
	       board2ros.bumper_switch[1];
    }
    bool is_emergency() const {
        return board2ros.emergency_switch[0] ||
               board2ros.emergency_switch[1] ||
               board2ros.bumper_switch[0] ||
               board2ros.bumper_switch[1] ||
               ros2board.emergency_stop;
    }
    void bmu_info(const shell *shell) const {
        shell_print(shell,
                    "MOD:0x%02x/%02x BMU:0x%02x\n"
                    "ASOC:%u RSOC:%u SOH:%u\n"
                    "FET:%d Current:%d ChargeCurrent:%u\n"
                    "Voltage:%u Capacity(design):%u Capacity(full):%u Capacity(remain):%u\n"
                    "Max Voltage:%u/%u Min Voltage:%u/%u\n"
                    "Max Temp:%d/%u Min Temp:%d/%u\n"
                    "Max Current:%d/%u Min Current:%d/%u\n"
                    "BMUFW:0x%02x MODFW:0x%02x SER:0x%02x PAR:0x%02x\n"
                    "ALM1:0x%02x ALM2:0x%02x\n"
                    "Max Cell Voltage:%u/%u Min Cell Voltage:%u/%u\n"
                    "Manufacture:%u Inspection:%u Serial:%u\n",
                    bmu2ros.mod_status1, bmu2ros.mod_status2, bmu2ros.bmu_status,
                    bmu2ros.asoc, bmu2ros.rsoc, bmu2ros.soh,
                    bmu2ros.fet_temp, bmu2ros.pack_current, bmu2ros.charging_current,
                    bmu2ros.pack_voltage, bmu2ros.design_capacity, bmu2ros.full_charge_capacity, bmu2ros.remain_capacity,
                    bmu2ros.max_voltage.value, bmu2ros.max_voltage.id, bmu2ros.min_voltage.value, bmu2ros.min_voltage.id,
                    bmu2ros.max_temp.value, bmu2ros.max_temp.id, bmu2ros.min_temp.value, bmu2ros.min_temp.id,
                    bmu2ros.max_current.value, bmu2ros.max_current.id, bmu2ros.min_current.value, bmu2ros.min_current.id,
                    bmu2ros.bmu_fw_ver, bmu2ros.mod_fw_ver, bmu2ros.serial_config, bmu2ros.parallel_config,
                    bmu2ros.bmu_alarm1, bmu2ros.bmu_alarm2,
                    bmu2ros.max_cell_voltage.value, bmu2ros.max_cell_voltage.id, bmu2ros.min_cell_voltage.value, bmu2ros.min_cell_voltage.id,
                    bmu2ros.manufacturing, bmu2ros.inspection, bmu2ros.serial);
    }
    void brd_emgoff() {
        ros2board.emergency_stop = false;
        ros2board.lockdown = false;
        heartbeat_timeout = false;
    }
    void brd_acreqon() {
        ros2board.auto_charge_request_enable = true;
        heartbeat_timeout = false;
    }
    void brd_acreqoff() {
        ros2board.auto_charge_request_enable = false;
        heartbeat_timeout = false;
    }
    void brd_info(const shell *shell) const {
        shell_print(shell,
                    "Bumper:%d/%d Emergency:%d/%d Power:%d\n"
                    "Shutdown:%d Reason:%d AutoCharge:%d ManualCharge:%d\n"
                    "CFET:%d DFET:%d PDSG:%d\n"
                    "5VFAIL:%d 16VFAIL:%d\n"
                    "STATE:%u WHEEL:%d/%d\n"
                    "FAN:%u\n"
                    "ConnTemp:%d/%d PBTemp:%d\n"
                    "MBTemp:%f ActTemp:%f/%f/%f\n"
                    "Charge Connector Voltage:%f Count:%u Delay:%u TempError:%d\n"
                    "Version:%s PowerBoard Version:%s\n",
                    board2ros.bumper_switch[0], board2ros.bumper_switch[1], board2ros.emergency_switch[0], board2ros.emergency_switch[1], board2ros.power_switch,
                    board2ros.wait_shutdown, board2ros.shutdown_reason, board2ros.auto_charging, board2ros.manual_charging,
                    board2ros.c_fet, board2ros.d_fet, board2ros.p_dsg,
                    board2ros.v5_fail, board2ros.v16_fail,
                    board2ros.state, board2ros.wheel_disable[0], board2ros.wheel_disable[1],
                    board2ros.fan_duty,
                    board2ros.charge_connector_temp[0], board2ros.charge_connector_temp[1], board2ros.power_board_temp,
                    board2ros.main_board_temp, board2ros.actuator_board_temp[0], board2ros.actuator_board_temp[1], board2ros.actuator_board_temp[2],
                    board2ros.charge_connector_voltage, board2ros.charge_check_count, board2ros.charge_heartbeat_delay, board2ros.charge_temperature_error,
                    version, version_powerboard);
    }
private:
    // 2.6 filters had rtr_mask=1 (data frames only); 4.1 filters cannot match RTR, so drop them here.
    static bool is_rtr(const can_frame &frame) {
        return (frame.flags & CAN_FRAME_RTR) != 0;
    }
    void setup_can_filter() const {
        static const can_filter filter_bmu{.id{0x100}, .mask{0x7c0}, .flags{0}};
        static const can_filter filter_board{.id{0x200}, .mask{0x7f8}, .flags{0}};
        static const can_filter filter_log{.id{0x300}, .mask{CAN_STD_ID_MASK}, .flags{0}};
        can_add_rx_filter_msgq(dev, &msgq_can_bmu, &filter_bmu);
        can_add_rx_filter_msgq(dev, &msgq_can_board, &filter_board);
        can_add_rx_filter_msgq(dev, &msgq_can_log, &filter_log);
    }
    bool handler_bmu(can_frame &frame, bool &is_corrupted) {
        bool result{false};
        if (frame.id == 0x100) {
            if (frame.dlc <= 6) {
                LOG_ERR("receive wrong dlc. frame.id:%x, frame.dlc: %d", frame.id, frame.dlc);
                is_corrupted = true;
                return false;
            }

            bmu2ros.mod_status1 = frame.data[0];
            bmu2ros.bmu_status = frame.data[1];
            bmu2ros.asoc = frame.data[2];
            bmu2ros.rsoc = frame.data[3];
            bmu2ros.soh = frame.data[4];
            bmu2ros.fet_temp = (frame.data[5] << 8) | frame.data[6];
        } else if (frame.id == 0x101) {
            if (frame.dlc <= 6) {
                LOG_ERR("0x101, dlc: %d", frame.dlc);
                is_corrupted = true;
                return false;
            }

            bmu2ros.pack_current = (frame.data[0] << 8) | frame.data[1];
            bmu2ros.charging_current = (frame.data[2] << 8) | frame.data[3];
            bmu2ros.pack_voltage = (frame.data[4] << 8) | frame.data[5];
            bmu2ros.mod_status2 = frame.data[6];
        } else if (frame.id == 0x103) {
            if (frame.dlc <= 5) {
                LOG_ERR("receive wrong dlc. frame.id:%x, frame.dlc: %d", frame.id, frame.dlc);
                is_corrupted = true;
                return false;
            }

            bmu2ros.design_capacity = (frame.data[0] << 8) | frame.data[1];
            bmu2ros.full_charge_capacity = (frame.data[2] << 8) | frame.data[3];
            bmu2ros.remain_capacity = (frame.data[4] << 8) | frame.data[5];
        } else if (frame.id == 0x110) {
            if (frame.dlc <= 6) {
                LOG_ERR("receive wrong dlc. frame.id:%x, frame.dlc: %d", frame.id, frame.dlc);
                is_corrupted = true;
                return false;
            }

            bmu2ros.max_voltage.value = (frame.data[0] << 8) | frame.data[1];
            bmu2ros.max_voltage.id = frame.data[2];
            bmu2ros.min_voltage.value = (frame.data[4] << 8) | frame.data[5];
            bmu2ros.min_voltage.id = frame.data[6];
        } else if (frame.id == 0x111) {
            if (frame.dlc <= 6) {
                LOG_ERR("receive wrong dlc. frame.id:%x, frame.dlc: %d", frame.id, frame.dlc);
                is_corrupted = true;
                return false;
            }

            bmu2ros.max_temp.value = (frame.data[0] << 8) | frame.data[1];
            bmu2ros.max_temp.id = frame.data[2];
            bmu2ros.min_temp.value = (frame.data[4] << 8) | frame.data[5];
            bmu2ros.min_temp.id = frame.data[6];
        } else if (frame.id == 0x112) {
            if (frame.dlc <= 6) {
                LOG_ERR("receive wrong dlc. frame.id:%x, frame.dlc: %d", frame.id, frame.dlc);
                is_corrupted = true;
                return false;
            }

            bmu2ros.max_current.value = (frame.data[0] << 8) | frame.data[1];
            bmu2ros.max_current.id = frame.data[2];
            bmu2ros.min_current.value = (frame.data[4] << 8) | frame.data[5];
            bmu2ros.min_current.id = frame.data[6];
        } else if (frame.id == 0x113) {
            if (frame.dlc <= 5) {
                LOG_ERR("receive wrong dlc. frame.id:%x, frame.dlc: %d", frame.id, frame.dlc);
                is_corrupted = true;
                return false;
            }

            bmu2ros.bmu_fw_ver = frame.data[0];
            bmu2ros.mod_fw_ver = frame.data[1];
            bmu2ros.serial_config = frame.data[2];
            bmu2ros.parallel_config = frame.data[3];
            bmu2ros.bmu_alarm1 = frame.data[4];
            bmu2ros.bmu_alarm2 = frame.data[5];
        } else if (frame.id == 0x120) {
            if (frame.dlc <= 6) {
                LOG_ERR("receive wrong dlc. frame.id:%x, frame.dlc: %d", frame.id, frame.dlc);
                is_corrupted = true;
                return false;
            }

            bmu2ros.min_cell_voltage.value = (frame.data[0] << 8) | frame.data[1];
            bmu2ros.min_cell_voltage.id = frame.data[2];
            bmu2ros.max_cell_voltage.value = (frame.data[4] << 8) | frame.data[5];
            bmu2ros.max_cell_voltage.id = frame.data[6];
        } else if (frame.id == 0x130) {
            if (frame.dlc <= 5) {
                LOG_ERR("receive wrong dlc. frame.id:%x, frame.dlc: %d", frame.id, frame.dlc);
                is_corrupted = true;
                return false;
            }

            bmu2ros.manufacturing = (frame.data[0] << 8) | frame.data[1];
            bmu2ros.inspection = (frame.data[2] << 8) | frame.data[3];
            bmu2ros.serial = (frame.data[4] << 8) | frame.data[5];
            result = true;
        }

        return result;
    }
    bool handler_board(can_frame &frame) {
        if (frame.id == 0x200) {
            if (frame.dlc != 8) {
                LOG_ERR("receive wrong dlc. frame.id:%x, frame.dlc: %d", frame.id, frame.dlc);
                return false;
            }

            uint8_t prev_state{board2ros.state};
            bool prev_wait_shutdown{board2ros.wait_shutdown};
            board2ros.bumper_switch[0] = (frame.data[0] & 0b00001000) != 0;
            board2ros.bumper_switch[1] = (frame.data[0] & 0b00010000) != 0;
            board2ros.emergency_switch[0] = (frame.data[0] & 0b00000010) != 0;
            board2ros.emergency_switch[1] = (frame.data[0] & 0b00000100) != 0;
            board2ros.power_switch = (frame.data[0] & 0b00000001) != 0;
            board2ros.wait_shutdown = (frame.data[1] & 0b10000000) != 0;
            board2ros.auto_charging = (frame.data[1] & 0b00000010) != 0;
            board2ros.shutdown_reason = (frame.data[1] & 0b01111100) >> 2;
            board2ros.manual_charging = (frame.data[1] & 0b00000001) != 0;
            board2ros.c_fet = (frame.data[2] & 0b00010000) != 0;
            board2ros.d_fet = (frame.data[2] & 0b00100000) != 0;
            board2ros.p_dsg = (frame.data[2] & 0b01000000) != 0;
            board2ros.v5_fail = (frame.data[2] & 0b00000001) != 0;
            board2ros.v16_fail = (frame.data[2] & 0b00000010) != 0;
            board2ros.wheel_disable[0] = (frame.data[3] & 0b00000001) != 0;
            board2ros.wheel_disable[1] = (frame.data[3] & 0b00000010) != 0;
            board2ros.state = (frame.data[3] & 0b11111100) >> 2;
            board2ros.fan_duty = frame.data[4];
            board2ros.charge_connector_temp[0] = frame.data[5];
            board2ros.charge_connector_temp[1] = frame.data[6];
            board2ros.power_board_temp = frame.data[7];
            board2ros.main_board_temp = misc_controller::get_main_board_temp();
            for (auto i{0}; i < 3; ++i)
                board2ros.actuator_board_temp[i] = misc_controller::get_actuator_board_temp(i);
            static constexpr uint8_t LOCKDOWN_STATE{7};
            if (prev_state != LOCKDOWN_STATE && board2ros.state == LOCKDOWN_STATE) {
                led_controller::msg message{led_controller::msg::LOCKDOWN, 1000000000};
                while (k_msgq_put(&led_controller::msgq, &message, K_NO_WAIT) != 0)
                    k_msgq_purge(&led_controller::msgq);
            }
            if (!prev_wait_shutdown && board2ros.wait_shutdown) {
                led_controller::msg message{led_controller::msg::SHOWTIME, 60000};
                while (k_msgq_put(&led_controller::msgq, &message, K_NO_WAIT) != 0)
                    k_msgq_purge(&led_controller::msgq);
            }
        } else if (frame.id == 0x202) {
            if (frame.dlc == 0) {
                LOG_ERR("receive wrong dlc. frame.id:%x, frame.dlc: %d", frame.id, frame.dlc);
                return false;
            }

            if (frame.data[0] == 1) {
                led_controller::msg message{led_controller::msg::CHARGE_LEVEL, 2000};
                while (k_msgq_put(&led_controller::msgq, &message, K_NO_WAIT) != 0)
                    k_msgq_purge(&led_controller::msgq);
            }
        } else if (frame.id == 0x203) {
            for (uint32_t i{0}, n{0}; i < frame.dlc && n < sizeof version_powerboard - 2; ++i) {
                char data{frame.data[i]};
                version_powerboard[n++] = data;
                if (data == '\0')
                    break;
                version_powerboard[n++] = '.';
            }
            version_powerboard[frame.dlc] = '\0';
        } else if (frame.id == 0x204) {
            if (frame.dlc <= 4) {
                LOG_ERR("receive wrong dlc. frame.id:%x, frame.dlc: %d", frame.id, frame.dlc);
                return false;
            }

            uint16_t voltage_mv{static_cast<uint16_t>(frame.data[0] | (frame.data[1] << 8))};
            board2ros.charge_connector_voltage = voltage_mv * 1e-3f;
            board2ros.charge_check_count = frame.data[2];
            board2ros.charge_heartbeat_delay = frame.data[3];
            board2ros.charge_temperature_error = frame.data[4];
        }

        return true;
    }
    void handler_log(can_frame &frame) {
        for (uint32_t i{0}; i < frame.dlc; ++i) {
            uint8_t data{frame.data[i]};
            if (data == 0)
                break;
            log.putc(data);
        }
    }
    void handler_corrupted_frame(can_frame &frame) {
        diag2ros.cob_id = frame.id;
        diag2ros.dlc = frame.dlc;
        while (k_msgq_put(&msgq_diagnostics, &diag2ros, K_NO_WAIT) != 0)
            k_msgq_purge(&msgq_diagnostics);

        led_controller::msg message{led_controller::msg::CHARGING, 1000};
        while (k_msgq_put(&led_controller::msgq, &message, K_NO_WAIT) != 0)
            k_msgq_purge(&led_controller::msgq);
    }
    void send_message() const {
        bool main_overheat{board2ros.main_board_temp > 75.0f};
        bool actuator_overheat{false};
        for (const auto &i: board2ros.actuator_board_temp) {
            if (i > 75.0f)
                actuator_overheat = true;
        }
        const bool should_lockdown = !get_emergency_switch() && (ros2board.lockdown || heartbeat_timeout);
        can_frame frame{};
        frame.id = 0x201;
        frame.flags = 0;
        frame.dlc = 7;
        frame.data[0] = ros2board.emergency_stop;
        frame.data[1] = ros2board.power_off;
        frame.data[2] = should_lockdown;
        frame.data[3] = main_overheat;
        frame.data[4] = actuator_overheat;
        frame.data[5] = ros2board.wheel_power_off;
        frame.data[6] = ros2board.auto_charge_request_enable;
        can_send(dev, &frame, K_MSEC(100), nullptr, nullptr);
    }
    msg_bmu bmu2ros{0};
    msg_board board2ros{0};
    msg_control ros2board{true, false};
    msg_diagnostics diag2ros{};
    log_printer log;
    uint32_t prev_cycle_ros{0}, prev_cycle_send{0};
    const device *dev{nullptr};
    char version_powerboard[32]{""};
    bool heartbeat_timeout{true};

    // Version Definition
    // [Hardware Change].[function added or interface change].[bug fix, reset to 0 when the compatibility is lost]
    static constexpr char version[]{VERSION_STR};
} impl;

int bmu_info(const shell *shell, size_t argc, char **argv)
{
    impl.bmu_info(shell);
    return 0;
}

SHELL_STATIC_SUBCMD_SET_CREATE(sub_bmu,
    SHELL_CMD(info, NULL, "BMU information", bmu_info),
    SHELL_SUBCMD_SET_END
);
SHELL_CMD_REGISTER(bmu, &sub_bmu, "BMU commands", NULL);

int brd_emgoff(const shell *shell, size_t argc, char **argv)
{
    impl.brd_emgoff();
    return 0;
}

int brd_acreqon(const shell *shell, size_t argc, char **argv)
{
    impl.brd_acreqon();
    return 0;
}

int brd_acreqoff(const shell *shell, size_t argc, char **argv)
{
    impl.brd_acreqoff();
    return 0;
}

int brd_info(const shell *shell, size_t argc, char **argv)
{
    impl.brd_info(shell);
    return 0;
}

SHELL_STATIC_SUBCMD_SET_CREATE(sub_brd,
    SHELL_CMD(emgoff, NULL, "ROS emergency stop off", brd_emgoff),
    SHELL_CMD(acreqon, NULL, "ROS auto charge request enable on", brd_acreqon),
    SHELL_CMD(acreqoff, NULL, "ROS auto charge request enable off", brd_acreqoff),
    SHELL_CMD(info, NULL, "Board information", brd_info),
    SHELL_SUBCMD_SET_END
);
SHELL_CMD_REGISTER(brd, &sub_brd, "Board commands", NULL);

void init()
{
    impl.init();
}

void run(void *p1, void *p2, void *p3)
{
    impl.run();
}

uint32_t get_rsoc()
{
    return impl.get_rsoc();
}

bool get_emergency_switch()
{
    return impl.get_emergency_switch();
}

bool get_bumper_switch()
{
    return impl.get_bumper_switch();
}

bool is_emergency()
{
    return impl.is_emergency();
}

k_thread thread;
k_msgq msgq_bmu, msgq_board, msgq_control, msgq_diagnostics;

}

// vim: set expandtab shiftwidth=4:
```

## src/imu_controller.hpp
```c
/*
 * Copyright (c) 2022, LexxPluss Inc.
 * All rights reserved.
 *
 * Redistribution and use in source and binary forms, with or without
 * modification, are permitted provided that the following conditions are met:
 *
 * 1. Redistributions of source code must retain the above copyright notice,
 *    this list of conditions and the following disclaimer.
 * 2. Redistributions in binary form must reproduce the above copyright notice,
 *    this list of conditions and the following disclaimer in the documentation
 *    and/or other materials provided with the distribution.
 *
 * THIS SOFTWARE IS PROVIDED BY THE COPYRIGHT HOLDERS AND CONTRIBUTORS "AS IS" AND
 * ANY EXPRESS OR IMPLIED WARRANTIES, INCLUDING, BUT NOT LIMITED TO, THE IMPLIED
 * WARRANTIES OF MERCHANTABILITY AND FITNESS FOR A PARTICULAR PURPOSE ARE
 * DISCLAIMED. IN NO EVENT SHALL THE COPYRIGHT OWNER OR CONTRIBUTORS BE LIABLE FOR
 * ANY DIRECT, INDIRECT, INCIDENTAL, SPECIAL, EXEMPLARY, OR CONSEQUENTIAL DAMAGES
 * (INCLUDING, BUT NOT LIMITED TO, PROCUREMENT OF SUBSTITUTE GOODS OR SERVICES;
 * LOSS OF USE, DATA, OR PROFITS; OR BUSINESS INTERRUPTION) HOWEVER CAUSED AND
 * ON ANY THEORY OF LIABILITY, WHETHER IN CONTRACT, STRICT LIABILITY, OR TORT
 * (INCLUDING NEGLIGENCE OR OTHERWISE) ARISING IN ANY WAY OUT OF THE USE OF THIS
 * SOFTWARE, EVEN IF ADVISED OF THE POSSIBILITY OF SUCH DAMAGE.
 */

#pragma once

#include <zephyr/kernel.h>

namespace lexxhard::imu_controller {

struct msg {
    float accel[3];
    float gyro[3];
    float delta_ang[3];
    float delta_vel[3];
    float temp;
} __attribute__((aligned(4)));

void init();
void run(void *p1, void *p2, void *p3);
extern k_thread thread;
extern k_msgq msgq;

}

// vim: set expandtab shiftwidth=4:
```
